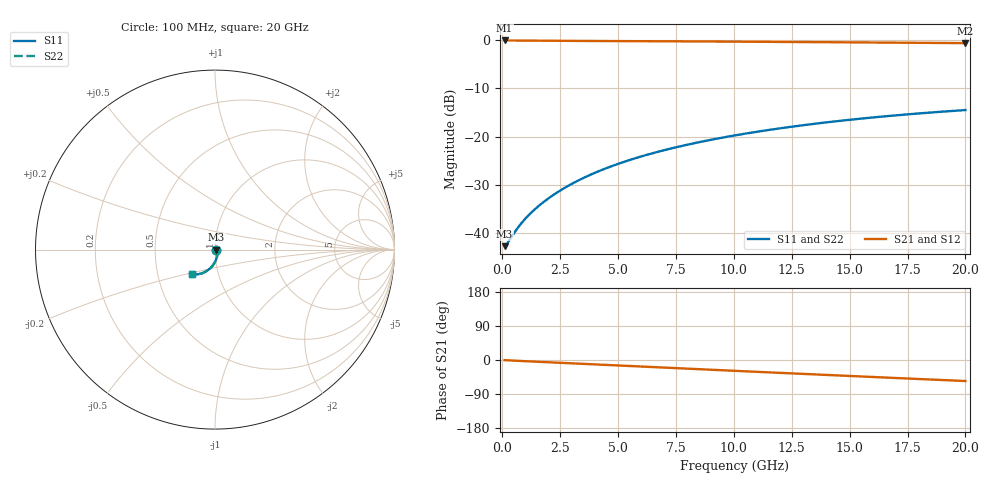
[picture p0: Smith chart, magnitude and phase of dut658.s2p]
! Touchstone file exported from HFSS 2026.1.0
!  File:  C:/ffzhzh/LocalFiles/Ansys_Project_Files/temp_train_BSMRDL_658_1783017104_53980.aedt
!  Generated:  02:33:48 AM Jul  3, 2026
!  Design:  BSMRDL
!  Project:  temp_train_BSMRDL_658_1783017104_53980
! Variables:
!  h_bsmrdl = 2.6um
!  h_ox = 20um
!  h_rdl = 5um
!  h_sub = 80um
!  h_tmrdl = 5um
!  h_tsv = 80um
!  h_via = 3um
!  l_bsmrdl = 960.25um
!  l_sub = 1360.25um
!  l_tmrdl = 200um
!  m_sub = 200um
!  pitch = 20.06um
!  r_tsv = 6um
!  s_tmrdl = 10um
!  w_bsmrdl = 18.53um
!  w_sub = 500um
!  w_tmrdl = 12um
!  x_tsv_center1 = 206um
!  x_tsv_center2 = 1184.78um
!  x_tsv_center3 = 1396.78um
!  x_tsv_center4 = 2375.56um
!  x_tsv_center5 = 2587.56um
!  x_tsv_center6 = 3566.34um
# GHz S MA R 50.000000
! Terminal data exported
! Port[1] = BSM_RDL1_1_T1
! Port[2] = BSM_RDL1_1_T2
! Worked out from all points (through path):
!   200 points, 100 MHz to 20 GHz, reference 50 ohm
!   highest |S21| = -0.06 dB at 100 MHz (marker M1); lowest = -0.6 dB at 20 GHz (marker M2)
!   group delay of S21, straight-line fit = 7.68 ps
!   lowest |S11| = -42.7 dB at 100 MHz (marker M3), VSWR 1.01, Z = 50.7 + j0.0167 ohm
!   |S11| at or under -10 dB: start of sweep to end of sweep
!   |S22| runs from -42.7 to -14.5 dB; largest |S21 - S12| = 3.5e-15
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0.1  0.007305 1.3  0.9927 -0.4  0.9927 -0.4  0.007305 1.3
! Gamma 0 0 0 0
! Port Impedance 50 0 50 0
0.2  0.00773 1.6  0.9923 -0.7  0.9923 -0.7  0.00773 1.6
0.6  0.01075 -8.6  0.9893 -2.0  0.9893 -2.0  0.01075 -8.6
0.8  0.01244 -16.5  0.9879 -2.6  0.9879 -2.6  0.01244 -16.5
1.1  0.01499 -27.7  0.9863 -3.4  0.9863 -3.4  0.01498 -27.7
1.5  0.01845 -39.9  0.9849 -4.6  0.9849 -4.6  0.01844 -39.9
1.9  0.02202 -49.2  0.9839 -5.7  0.9839 -5.7  0.02201 -49.2
2.4  0.02663 -58.0  0.9829 -7.1  0.9829 -7.1  0.02662 -58.0
2.9  0.03138 -64.6  0.9821 -8.5  0.9821 -8.5  0.03137 -64.6
3.5  0.0372 -70.8  0.981 -10.2  0.981 -10.2  0.03719 -70.8
4.2  0.04412 -76.4  0.9798 -12.2  0.9798 -12.2  0.0441 -76.4
5  0.05213 -81.5  0.9782 -14.5  0.9782 -14.5  0.0521 -81.6
5.9  0.06121 -86.4  0.9763 -17.0  0.9763 -17.0  0.06118 -86.4
6.8  0.07033 -90.5  0.9742 -19.5  0.9742 -19.5  0.07029 -90.5
8.4  0.0865 -97.0  0.9701 -24.0  0.9701 -24.0  0.08644 -97.0
10.1  0.1035 -103.0  0.9652 -28.8  0.9652 -28.8  0.1034 -103.0
11.7  0.119 -108.3  0.9602 -33.2  0.9602 -33.2  0.1189 -108.3
13.4  0.135 -113.6  0.9545 -37.8  0.9545 -37.8  0.1348 -113.6
15  0.1493 -118.4  0.949 -42.2  0.949 -42.2  0.1491 -118.4
16.7  0.1636 -123.4  0.943 -46.7  0.943 -46.7  0.1635 -123.4
18.3  0.1762 -128.0  0.9373 -51.0  0.9373 -51.0  0.176 -128.0
20  0.1883 -132.7  0.9314 -55.5  0.9314 -55.5  0.1881 -132.7
